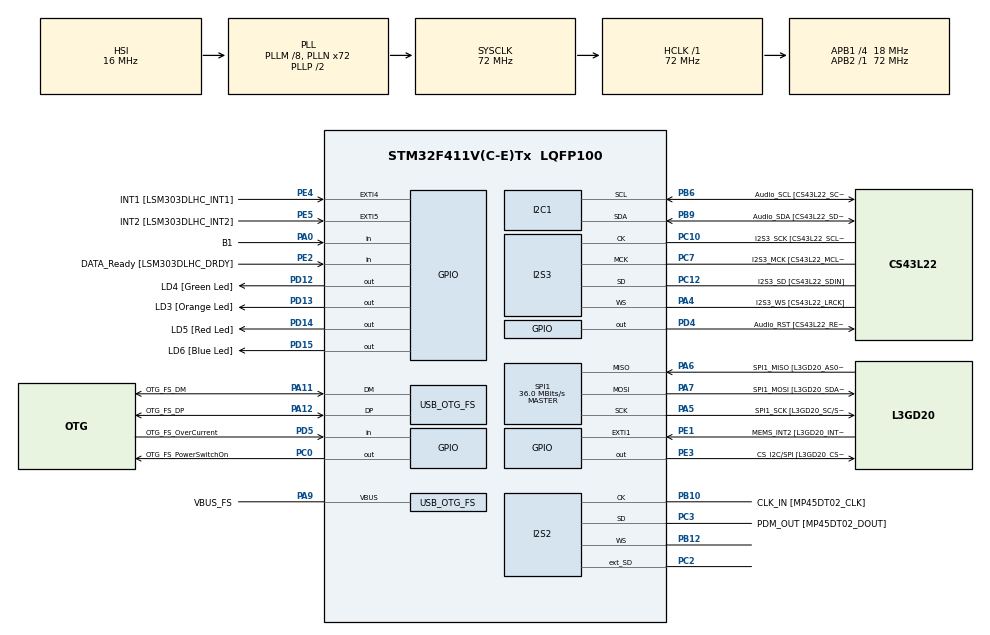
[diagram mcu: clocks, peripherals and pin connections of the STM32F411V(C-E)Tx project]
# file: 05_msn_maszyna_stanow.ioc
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I2S2.AudioFreq=I2S_AUDIOFREQ_96K
I2S2.ErrorAudioFreq=0.15 %
I2S2.FullDuplexMode=I2S_FULLDUPLEXMODE_ENABLE
I2S2.Instance=SPI$Index
I2S2.RealAudioFreq=96.153 KHz
I2S2.VirtualMode=I2S_MODE_MASTER
I2S3.AudioFreq=I2S_AUDIOFREQ_96K
I2S3.ErrorAudioFreq=-6.99 %
I2S3.FullDuplexMode=I2S_FULLDUPLEXMODE_DISABLE
I2S3.Instance=SPI$Index
I2S3.RealAudioFreq=89.285 KHz
I2S3.VirtualMode=I2S_MODE_MASTER
Mcu.Family=STM32F4
Mcu.Name=STM32F411V(C-E)Tx
Mcu.Package=LQFP100
NVIC.OTG_FS_IRQn=true\:0\:0\:false\:false\:true\:true\:true
NVIC.PriorityGroup=NVIC_PRIORITYGROUP_0
PA0-WKUP.GPIO_Label=B1
PA0-WKUP.Signal=GPIO_Input
PA10.GPIO_Label=OTG_FS_ID
PA10.Signal=USB_OTG_FS_ID
PA11.GPIO_Label=OTG_FS_DM
PA11.Mode=Host_Only
PA11.Signal=USB_OTG_FS_DM
PA12.GPIO_Label=OTG_FS_DP
PA12.Mode=Host_Only
PA12.Signal=USB_OTG_FS_DP
PA13.GPIO_Label=SWDIO
PA13.Mode=Serial_Wire
PA13.Signal=SYS_JTMS-SWDIO
PA14.GPIO_Label=SWCLK
PA14.Mode=Serial_Wire
PA14.Signal=SYS_JTCK-SWCLK
PA4.GPIO_Label=I2S3_WS [CS43L22_LRCK]
PA4.GPIO_Mode=GPIO_MODE_AF_PP
PA4.GPIO_PuPd=GPIO_NOPULL
PA4.GPIO_Speed=GPIO_SPEED_FREQ_LOW
PA4.Mode=Half_Duplex_Master
PA4.Signal=I2S3_WS
PA5.GPIO_Label=SPI1_SCK [L3GD20_SC/SPC]
PA5.Mode=Full_Duplex_Master
PA5.Signal=SPI1_SCK
PA6.GPIO_Label=SPI1_MISO [L3GD20_AS0/SDO]
PA6.Mode=Full_Duplex_Master
PA6.Signal=SPI1_MISO
PA7.GPIO_Label=SPI1_MOSI [L3GD20_SDA/SDI/SDO]
PA7.Mode=Full_Duplex_Master
PA7.Signal=SPI1_MOSI
PA9.GPIO_Label=VBUS_FS
PA9.Mode=Activate_VBUS
PA9.Signal=USB_OTG_FS_VBUS
PB10.GPIO_Label=CLK_IN [MP45DT02_CLK]
PB10.Mode=Full_Duplex_Master
PB10.Signal=I2S2_CK
PB12.Mode=Full_Duplex_Master
PB12.Signal=I2S2_WS
PB3.GPIO_Label=SWO
PB3.Signal=SYS_JTDO-SWO
PB6.GPIO_Label=Audio_SCL [CS43L22_SCL]
PB6.GPIO_Mode=GPIO_MODE_AF_OD
PB6.GPIO_PuPd=GPIO_NOPULL
PB6.GPIO_Speed=GPIO_SPEED_FREQ_LOW
PB6.Mode=I2C
PB6.Signal=I2C1_SCL
PB9.GPIO_Label=Audio_SDA [CS43L22_SDA]
PB9.GPIO_Mode=GPIO_MODE_AF_OD
PB9.GPIO_PuPd=GPIO_NOPULL
PB9.GPIO_Speed=GPIO_SPEED_FREQ_LOW
PB9.Mode=I2C
PB9.Signal=I2C1_SDA
PC0.GPIO_Label=OTG_FS_PowerSwitchOn
PC0.PinState=GPIO_PIN_SET
PC0.Signal=GPIO_Output
PC10.GPIO_Label=I2S3_SCK [CS43L22_SCLK]
PC10.GPIO_Mode=GPIO_MODE_AF_PP
PC10.GPIO_PuPd=GPIO_NOPULL
PC10.GPIO_Speed=GPIO_SPEED_FREQ_LOW
PC10.Mode=Half_Duplex_Master
PC10.Signal=I2S3_CK
PC12.GPIO_Label=I2S3_SD [CS43L22_SDIN]
PC12.GPIO_Mode=GPIO_MODE_AF_PP
PC12.GPIO_PuPd=GPIO_NOPULL
PC12.GPIO_Speed=GPIO_SPEED_FREQ_LOW
PC12.Mode=Half_Duplex_Master
PC12.Signal=I2S3_SD
PC14-OSC32_IN.GPIO_Label=PC14-OSC32_IN
PC14-OSC32_IN.Mode=LSE-External-Oscillator
PC14-OSC32_IN.Signal=RCC_OSC32_IN
PC15-OSC32_OUT.GPIO_Label=PC15-OSC32_OUT
PC15-OSC32_OUT.Mode=LSE-External-Oscillator
PC15-OSC32_OUT.Signal=RCC_OSC32_OUT
PC2.Mode=Full_Duplex_Master
PC2.Signal=I2S2_ext_SD
PC3.GPIO_Label=PDM_OUT [MP45DT02_DOUT]
PC3.Mode=Full_Duplex_Master
PC3.Signal=I2S2_SD
PC7.GPIO_Label=I2S3_MCK [CS43L22_MCLK]
PC7.GPIO_Mode=GPIO_MODE_AF_PP
PC7.GPIO_PuPd=GPIO_NOPULL
PC7.GPIO_Speed=GPIO_SPEED_FREQ_LOW
PC7.Mode=Master_Clock_Activated
PC7.Signal=I2S3_MCK
PD12.GPIO_Label=LD4 [Green Led]
PD12.GPIO_PuPd=GPIO_NOPULL
PD12.GPIO_Speed=GPIO_SPEED_FREQ_LOW
PD12.Signal=GPIO_Output
PD13.GPIO_Label=LD3 [Orange Led]
PD13.GPIO_PuPd=GPIO_NOPULL
PD13.GPIO_Speed=GPIO_SPEED_FREQ_LOW
PD13.Signal=GPIO_Output
PD14.GPIO_Label=LD5 [Red Led]
PD14.GPIO_PuPd=GPIO_NOPULL
PD14.GPIO_Speed=GPIO_SPEED_FREQ_LOW
PD14.Signal=GPIO_Output
PD15.GPIO_Label=LD6 [Blue Led]
PD15.GPIO_PuPd=GPIO_NOPULL
PD15.GPIO_Speed=GPIO_SPEED_FREQ_LOW
PD15.Signal=GPIO_Output
PD4.GPIO_Label=Audio_RST [CS43L22_RESET]
PD4.Signal=GPIO_Output
PD5.GPIO_Label=OTG_FS_OverCurrent
PD5.Signal=GPIO_Input
PE1.GPIO_Label=MEMS_INT2 [L3GD20_INT2]
PE1.GPIO_ModeDefaultEXTI=GPIO_MODE_EVT_RISING
PE1.Signal=GPXTI1
PE2.GPIO_Label=DATA_Ready [LSM303DLHC_DRDY]
PE2.Signal=GPIO_Input
PE3.GPIO_Label=CS_I2C/SPI [L3GD20_CS_I2C/SPI]
PE3.Signal=GPIO_Output
PE4.GPIO_Label=INT1 [LSM303DLHC_INT1]
PE4.GPIO_ModeDefaultEXTI=GPIO_MODE_EVT_RISING
PE4.Signal=GPXTI4
PE5.GPIO_Label=INT2 [LSM303DLHC_INT2]
PE5.GPIO_ModeDefaultEXTI=GPIO_MODE_EVT_RISING
PE5.Signal=GPXTI5
PH0\ -\ OSC_IN.GPIO_Label=PH0-OSC_IN
PH0\ -\ OSC_IN.Mode=HSE-External-Clock-Source
PH0\ -\ OSC_IN.Signal=RCC_OSC_IN
PH1\ -\ OSC_OUT.GPIO_Label=PH1-OSC_OUT
PH1\ -\ OSC_OUT.Mode=HSE-External-Clock-Source
PH1\ -\ OSC_OUT.Signal=RCC_OSC_OUT
ProjectManager.HeapSize=0x200
ProjectManager.StackSize=0x400
ProjectManager.TargetToolchain=STM32CubeIDE
RCC.48MHZClocksFreq_Value=48000000
RCC.AHBFreq_Value=72000000
RCC.APB1CLKDivider=RCC_HCLK_DIV4
RCC.APB1Freq_Value=18000000
RCC.APB1TimFreq_Value=36000000
RCC.APB2Freq_Value=72000000
RCC.APB2TimFreq_Value=72000000
RCC.CortexFreq_Value=72000000
RCC.HCLKFreq_Value=72000000
RCC.HSE_VALUE=8000000
RCC.HSI_VALUE=16000000
RCC.PLLI2SM=8
RCC.PLLI2SN=160
RCC.PLLM=8
RCC.PLLN=72
RCC.PLLQ=3
RCC.PLLSource=RCC_PLLSOURCE_HSI
RCC.PLLSourceVirtualString=RCC_PLLSOURCE_HSI
RCC.SYSCLKFreq_VALUE=72000000
RCC.SYSCLKSource=RCC_SYSCLKSOURCE_PLLCLK
RCC.VCOOutputFreq_Value=144000000
SPI1.BaudRatePrescaler=SPI_BAUDRATEPRESCALER_2
SPI1.CalculateBaudRate=36.0 MBits/s
SPI1.Direction=SPI_DIRECTION_2LINES
SPI1.Mode=SPI_MODE_MASTER
SPI1.VirtualType=VM_MASTER
USB_HOST.BSP.number=1
USB_HOST.USBH_HandleTypeDef=hUsbHostFS
USB_HOST.VirtualModeFS=Cdc
USB_HOST0.BSP.STBoard=false
USB_HOST0.BSP.api=Unknown
USB_HOST0.BSP.i2caddr=0
USB_HOST0.BSP.i2creg=0
USB_HOST0.BSP.instance=PC0
USB_HOST0.BSP.ip=GPIO
USB_HOST0.BSP.mode=Output
USB_HOST0.BSP.name=Drive_VBUS_FS
USB_HOST0.BSP.solution=PC0
USB_OTG_FS.VirtualMode=Host_Only
USB_OTG_FS.phy_itface=HCD_PHY_EMBEDDED
VP_USB_HOST_VS_USB_HOST_CDC_FS.Mode=CDC_FS
board=STM32F411E-DISCO

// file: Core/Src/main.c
/* USER CODE BEGIN Header */
/**
  ******************************************************************************
  * @file           : main.c
  * @brief          : Main program body
  ******************************************************************************
  * @attention
  *
  * <h2><center>&copy; Copyright (c) 2021 STMicroelectronics.
  * All rights reserved.</center></h2>
  *
  * This software component is licensed by ST under Ultimate Liberty license
  * SLA0044, the "License"; You may not use this file except in compliance with
  * the License. You may obtain a copy of the License at:
  *                             www.st.com/SLA0044
  *
  ******************************************************************************
  */
/* USER CODE END Header */
#include "main.h"
#include "i2c.h"
#include "i2s.h"
#include "spi.h"
#include "usb_host.h"
#include "gpio.h"

/* USER CODE BEGIN Includes */
#include "button.h"
/* USER CODE END Includes */

/* USER CODE BEGIN PV */
extern TButton BlueKey;
/* USER CODE END PV */

void SystemClock_Config(void);
void MX_USB_HOST_Process(void);

/* USER CODE BEGIN PFP */
void TurnOnLed(void);
void TurnOffLed(void);
void ToggleLed(void);
/* USER CODE END PFP */

int main(void)
{

  /* MCU Configuration--------------------------------------------------------*/

  /* Reset of all peripherals, Initializes the Flash interface and the Systick. */
  HAL_Init();

  /* Configure the system clock */
  SystemClock_Config();

  /* Initialize all configured peripherals */
  MX_GPIO_Init();
  MX_I2C1_Init();
  MX_I2S2_Init();
  MX_I2S3_Init();
  MX_SPI1_Init();
  MX_USB_HOST_Init();
  /* USER CODE BEGIN 2 */
  ButtonInitKey(&BlueKey, B1_GPIO_Port, B1_Pin, 10, 30, 2000, 500);
  ButtonRegisterPressCallback(&BlueKey, TurnOnLed);
  ButtonRegisterLongPressCallback(&BlueKey, TurnOffLed);
  ButtonRegisterRepeatPressCallback(&BlueKey, ToggleLed);
  /* USER CODE END 2 */

  /* Infinite loop */
  /* USER CODE BEGIN WHILE */
  while (1)
  {
	ButtonTask(&BlueKey);
    /* USER CODE END WHILE */
    MX_USB_HOST_Process();

  }
}

void SystemClock_Config(void)
{
  RCC_OscInitTypeDef RCC_OscInitStruct = {0};
  RCC_ClkInitTypeDef RCC_ClkInitStruct = {0};
  RCC_PeriphCLKInitTypeDef PeriphClkInitStruct = {0};

  /** Configure the main internal regulator output voltage
  */
  __HAL_RCC_PWR_CLK_ENABLE();
  __HAL_PWR_VOLTAGESCALING_CONFIG(PWR_REGULATOR_VOLTAGE_SCALE1);
  /** Initializes the RCC Oscillators according to the specified parameters
  * in the RCC_OscInitTypeDef structure.
  */
  RCC_OscInitStruct.OscillatorType = RCC_OSCILLATORTYPE_HSI;
  RCC_OscInitStruct.HSIState = RCC_HSI_ON;
  RCC_OscInitStruct.HSICalibrationValue = RCC_HSICALIBRATION_DEFAULT;
  RCC_OscInitStruct.PLL.PLLState = RCC_PLL_ON;
  RCC_OscInitStruct.PLL.PLLSource = RCC_PLLSOURCE_HSI;
  RCC_OscInitStruct.PLL.PLLM = 8;
  RCC_OscInitStruct.PLL.PLLN = 72;
  RCC_OscInitStruct.PLL.PLLP = RCC_PLLP_DIV2;
  RCC_OscInitStruct.PLL.PLLQ = 3;
  if (HAL_RCC_OscConfig(&RCC_OscInitStruct) != HAL_OK)
  {
    Error_Handler();
  }
  /** Initializes the CPU, AHB and APB buses clocks
  */
  RCC_ClkInitStruct.ClockType = RCC_CLOCKTYPE_HCLK|RCC_CLOCKTYPE_SYSCLK
                              |RCC_CLOCKTYPE_PCLK1|RCC_CLOCKTYPE_PCLK2;
  RCC_ClkInitStruct.SYSCLKSource = RCC_SYSCLKSOURCE_PLLCLK;
  RCC_ClkInitStruct.AHBCLKDivider = RCC_SYSCLK_DIV1;
  RCC_ClkInitStruct.APB1CLKDivider = RCC_HCLK_DIV4;
  RCC_ClkInitStruct.APB2CLKDivider = RCC_HCLK_DIV1;

  if (HAL_RCC_ClockConfig(&RCC_ClkInitStruct, FLASH_LATENCY_2) != HAL_OK)
  {
    Error_Handler();
  }
  PeriphClkInitStruct.PeriphClockSelection = RCC_PERIPHCLK_I2S;
  PeriphClkInitStruct.PLLI2S.PLLI2SN = 160;
  PeriphClkInitStruct.PLLI2S.PLLI2SM = 8;
  PeriphClkInitStruct.PLLI2S.PLLI2SR = 2;
  if (HAL_RCCEx_PeriphCLKConfig(&PeriphClkInitStruct) != HAL_OK)
  {
    Error_Handler();
  }
}

/* USER CODE BEGIN 4 */
void TurnOnLed(void)
{
	HAL_GPIO_WritePin(LD4_GPIO_Port, LD4_Pin, GPIO_PIN_SET);
}

void TurnOffLed(void)
{
	HAL_GPIO_WritePin(LD4_GPIO_Port, LD4_Pin, GPIO_PIN_RESET);
}
void ToggleLed(void)
{
	HAL_GPIO_TogglePin(LD5_GPIO_Port, LD5_Pin);
	HAL_GPIO_TogglePin(LD3_GPIO_Port, LD3_Pin);
	HAL_GPIO_TogglePin(LD6_GPIO_Port, LD6_Pin);
}
/* USER CODE END 4 */

void Error_Handler(void)
{
  __disable_irq();
  while (1)
  {
  }
}

/************************ (C) COPYRIGHT STMicroelectronics *****END OF FILE****/
